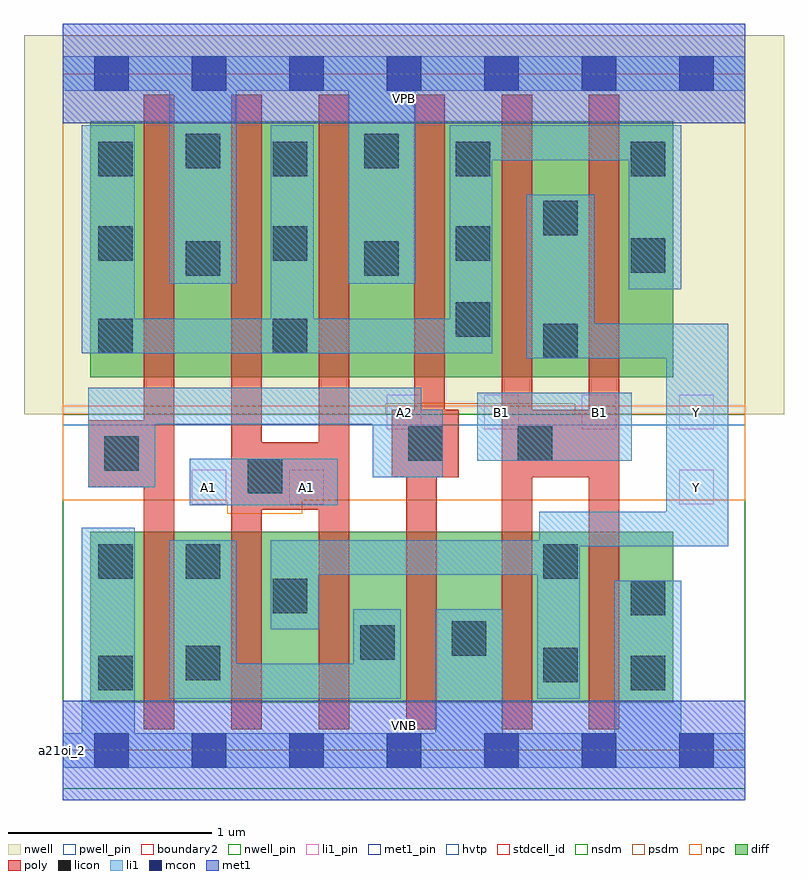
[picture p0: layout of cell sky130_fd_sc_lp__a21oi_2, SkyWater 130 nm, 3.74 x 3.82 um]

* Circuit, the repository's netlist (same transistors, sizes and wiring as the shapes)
* Copyright 2020 The SkyWater PDK Authors
*
* Licensed under the Apache License, Version 2.0 (the "License");
* you may not use this file except in compliance with the License.
* You may obtain a copy of the License at
*
*     https://www.apache.org/licenses/LICENSE-2.0
*
* Unless required by applicable law or agreed to in writing, software
* distributed under the License is distributed on an "AS IS" BASIS,
* WITHOUT WARRANTIES OR CONDITIONS OF ANY KIND, either express or implied.
* See the License for the specific language governing permissions and
* limitations under the License.
*
* SPDX-License-Identifier: Apache-2.0

.SUBCKT sky130_fd_sc_lp__a21oi_2 A1 A2 B1 VGND VNB VPB VPWR Y
*.PININFO A1:I A2:I B1:I VGND:I VNB:I VPB:I VPWR:I Y:O
MMPA0 pndA A1 VPWR VPB sky130_fd_pr__pfet_01v8_hvt m=2 w=1.26U l=0.15U mult=1 sa=0.265
+ sb=0.265 sd=0.28 area=0.063 perim=1.14
MMPA1 pndA A2 VPWR VPB sky130_fd_pr__pfet_01v8_hvt m=2 w=1.26U l=0.15U mult=1 sa=0.265
+ sb=0.265 sd=0.28 area=0.063 perim=1.14
MMPB0 Y B1 pndA VPB sky130_fd_pr__pfet_01v8_hvt m=2 w=1.26U l=0.15U mult=1 sa=0.265
+ sb=0.265 sd=0.28 area=0.063 perim=1.14
MMNA0 Y A1 sndA1 VNB sky130_fd_pr__nfet_01v8 m=2 w=0.84U l=0.15U mult=1 sa=0.265
+ sb=0.265 sd=0.28 area=0.063 perim=1.14
MMNA1 sndA1 A2 VGND VNB sky130_fd_pr__nfet_01v8 m=2 w=0.84U l=0.15U mult=1 sa=0.265
+ sb=0.265 sd=0.28 area=0.063 perim=1.14
MMNB0 Y B1 VGND VNB sky130_fd_pr__nfet_01v8 m=2 w=0.84U l=0.15U mult=1 sa=0.265
+ sb=0.265 sd=0.28 area=0.063 perim=1.14
.ENDS sky130_fd_sc_lp__a21oi_2

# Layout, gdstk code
import gdstk
lib = gdstk.Library(unit=1e-6, precision=1e-09)
def R(c, l, rs):  # rectangles x0, y0, x1, y1
    for r in rs: c.add(gdstk.rectangle(r[:2], r[2:], *l))
def A(c, l, x, y, w, h, nx, ny, dx, dy):  # array of equal rectangles
    R(c, l, [(x+i*dx, y+j*dy, x+i*dx+w, y+j*dy+h) for i in range(nx) for j in range(ny)])
def P(c, l, *ps):  # polygons
    for p in ps: c.add(gdstk.Polygon(p, *l))
nwell_pin = (64, 16)
nwell = (64, 20)
diff = (65, 20)
poly = (66, 20)
licon = (66, 44)
li1_pin = (67, 16)
li1 = (67, 20)
mcon = (67, 44)
met1_pin = (68, 16)
met1 = (68, 20)
hvtp = (78, 44)
stdcell_id = (81, 4)
nsdm = (93, 44)
psdm = (94, 20)
npc = (95, 20)
pwell_pin = (122, 16)
boundary2 = (236, 0)

sky130_fd_sc_lp__a21oi_2 = lib.new_cell('sky130_fd_sc_lp__a21oi_2')
R(sky130_fd_sc_lp__a21oi_2, nwell_pin, [(0,3.085,3.36,3.33)])
R(sky130_fd_sc_lp__a21oi_2, nwell, [(-0.19,1.655,3.55,3.52)])
R(sky130_fd_sc_lp__a21oi_2, diff, [(0.135,0.235,3.005,1.075), (0.135,1.835,3.005,3.095)])
P(sky130_fd_sc_lp__a21oi_2, poly, [(0.55,3.225),(0.4,3.225),(0.4,1.625),(0.125,1.625),(0.125,1.295),(0.4,1.295),(0.4,0.105),(0.55,0.105)],
  [(1.41,3.225),(1.26,3.225),(1.26,1.515),(0.98,1.515),(0.98,3.225),(0.83,3.225),(0.83,0.105),(0.98,0.105),(0.98,1.185),(1.26,1.185),(1.26,0.105),(1.41,0.105)],
  [(1.95,1.675),(1.88,1.675),(1.88,3.225),(1.73,3.225),(1.73,1.675),(1.62,1.675),(1.62,1.345),(1.69,1.345),(1.69,0.105),(1.84,0.105),(1.84,1.345),(1.95,1.345)],
  [(2.74,3.225),(2.59,3.225),(2.59,1.675),(2.31,1.675),(2.31,3.225),(2.16,3.225),(2.16,0.105),(2.31,0.105),(2.31,1.345),(2.59,1.345),(2.59,0.105),(2.74,0.105)])
R(sky130_fd_sc_lp__a21oi_2, licon, [(0.175,0.295,0.345,0.465), (2.795,0.295,2.965,0.465), (2.365,0.335,2.535,0.505), (0.605,0.345,0.775,0.515), (1.465,0.445,1.635,0.615), (1.915,0.465,2.085,0.635), (2.795,0.665,2.965,0.835), (1.035,0.675,1.205,0.845), (0.175,0.845,0.345,1.015), (0.605,0.845,0.775,1.015), (2.365,0.845,2.535,1.015), (0.91,1.265,1.08,1.435), (0.205,1.375,0.375,1.545), (1.7,1.425,1.87,1.595), (2.24,1.425,2.41,1.595), (2.365,1.93,2.535,2.1), (0.175,1.955,0.345,2.125), (1.035,1.955,1.205,2.125), (1.935,2.035,2.105,2.205), (0.605,2.335,0.775,2.505), (1.485,2.335,1.655,2.505), (2.795,2.35,2.965,2.52), (0.175,2.41,0.345,2.58), (1.035,2.41,1.205,2.58), (1.935,2.41,2.105,2.58), (2.365,2.535,2.535,2.705), (0.175,2.825,0.345,2.995), (1.035,2.825,1.205,2.995), (1.935,2.825,2.105,2.995), (2.795,2.825,2.965,2.995), (0.605,2.865,0.775,3.035), (1.485,2.865,1.655,3.035)])
A(sky130_fd_sc_lp__a21oi_2, li1_pin, 1.595, 1.58, 0.17, 0.17, 4, 1, 0.48, 0)
R(sky130_fd_sc_lp__a21oi_2, li1_pin, [(0.635,1.21,0.805,1.38), (1.115,1.21,1.285,1.38), (3.035,1.21,3.205,1.38)])
R(sky130_fd_sc_lp__a21oi_2, li1, [(0.625,1.205,1.355,1.435), (2.04,1.425,2.8,1.76)])
P(sky130_fd_sc_lp__a21oi_2, li1, [(1.405,2.295),(1.405,3.245),(0.855,3.245),(0.855,2.295),(0.525,2.295),(0.525,3.245),(0,3.245),(0,3.415),(3.36,3.415),(3.36,3.245),(1.735,3.245),(1.735,2.295)],
  [(2.715,0.085),(2.715,0.835),(3.045,0.835),(3.045,0.085),(3.36,0.085),(3.36,-0.085),(0,-0.085),(0,0.085),(0.095,0.085),(0.095,1.095),(0.355,1.095),(0.355,0.085),(1.835,0.085),(1.835,0.695),(2.165,0.695),(2.165,0.085)],
  [(2.615,2.1),(3.275,2.1),(3.275,1.005),(2.545,1.005),(2.545,0.255),(2.335,0.255),(2.335,0.865),(1.26,0.865),(1.26,0.595),(1.025,0.595),(1.025,1.035),(2.345,1.035),(2.345,1.175),(2.97,1.175),(2.97,1.93),(2.285,1.93),(2.285,2.735),(2.615,2.735)],
  [(2.785,2.905),(2.115,2.905),(2.115,1.955),(0.095,1.955),(0.095,3.075),(0.355,3.075),(0.355,2.125),(1.025,2.125),(1.025,3.075),(1.235,3.075),(1.235,2.125),(1.905,2.125),(1.905,3.075),(3.045,3.075),(3.045,2.27),(2.785,2.27)],
  [(0.855,0.425),(1.43,0.425),(1.43,0.695),(1.665,0.695),(1.665,0.255),(0.525,0.255),(0.525,1.035),(0.855,1.035)],
  [(0.125,1.785),(1.765,1.785),(1.765,1.675),(1.87,1.675),(1.87,1.345),(1.525,1.345),(1.525,1.605),(0.455,1.605),(0.455,1.295),(0.125,1.295)])
A(sky130_fd_sc_lp__a21oi_2, mcon, 0.155, -0.085, 0.17, 0.17, 7, 2, 0.48, 3.33)
R(sky130_fd_sc_lp__a21oi_2, met1_pin, [(0,0,3.36,0.245), (0,3.085,3.36,3.33)])
R(sky130_fd_sc_lp__a21oi_2, met1, [(0,-0.245,3.36,0.245), (0,3.085,3.36,3.575)])
R(sky130_fd_sc_lp__a21oi_2, hvtp, [(0,1.6,3.36,3.33)])
R(sky130_fd_sc_lp__a21oi_2, stdcell_id, [(0,0,3.36,3.33)])
R(sky130_fd_sc_lp__a21oi_2, nsdm, [(0,-0.19,3.36,1.655)])
P(sky130_fd_sc_lp__a21oi_2, psdm, [(3.36,3.52),(0,3.52),(0,1.655),(1.59,1.655),(1.59,1.705),(2.52,1.705),(2.52,1.655),(3.36,1.655)])
P(sky130_fd_sc_lp__a21oi_2, npc, [(3.36,1.695),(0,1.695),(0,1.23),(0.81,1.23),(0.81,1.165),(1.18,1.165),(1.18,1.23),(3.36,1.23)])
R(sky130_fd_sc_lp__a21oi_2, pwell_pin, [(0,0,3.36,0.245)])
R(sky130_fd_sc_lp__a21oi_2, boundary2, [(0,0,3.36,3.33)])
sky130_fd_sc_lp__a21oi_2.add(gdstk.Label('VNB', (1.68,0.123), layer=64, texttype=59))
sky130_fd_sc_lp__a21oi_2.add(gdstk.Label('VPB', (1.68,3.208), layer=64, texttype=5))
sky130_fd_sc_lp__a21oi_2.add(gdstk.Label('a21oi_2', (0,0), layer=83, texttype=44))
sky130_fd_sc_lp__a21oi_2.add(gdstk.Label('VPWR', (1.68,3.208), layer=68, texttype=5))
sky130_fd_sc_lp__a21oi_2.add(gdstk.Label('VGND', (1.68,0.123), layer=68, texttype=5))
sky130_fd_sc_lp__a21oi_2.add(gdstk.Label('Y', (3.12,1.295), layer=67, texttype=5))
sky130_fd_sc_lp__a21oi_2.add(gdstk.Label('A1', (0.72,1.295), layer=67, texttype=5))
sky130_fd_sc_lp__a21oi_2.add(gdstk.Label('A1', (1.2,1.295), layer=67, texttype=5))
sky130_fd_sc_lp__a21oi_2.add(gdstk.Label('B1', (2.16,1.665), layer=67, texttype=5))
sky130_fd_sc_lp__a21oi_2.add(gdstk.Label('B1', (2.64,1.665), layer=67, texttype=5))
sky130_fd_sc_lp__a21oi_2.add(gdstk.Label('A2', (1.68,1.665), layer=67, texttype=5))
sky130_fd_sc_lp__a21oi_2.add(gdstk.Label('Y', (3.12,1.665), layer=67, texttype=5))

lib.write_gds('sky130_fd_sc_lp__a21oi_2.gds')
